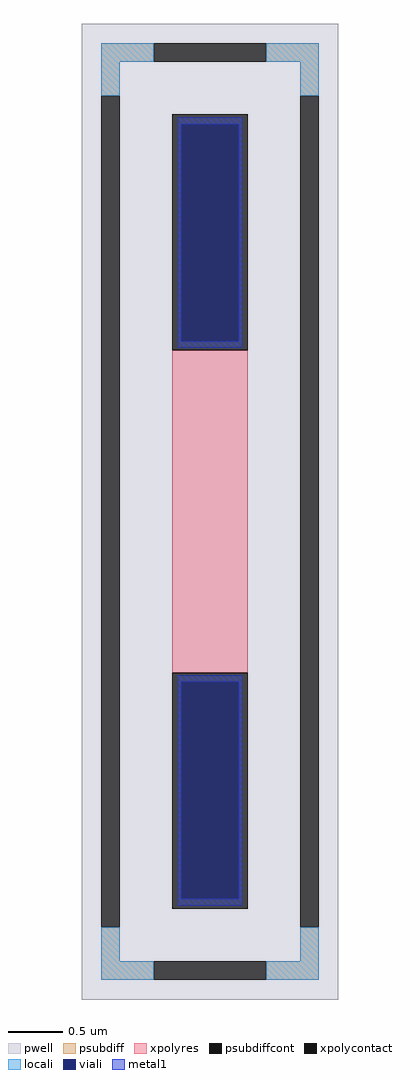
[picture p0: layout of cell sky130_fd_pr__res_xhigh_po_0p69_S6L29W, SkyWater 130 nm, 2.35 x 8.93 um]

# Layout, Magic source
magic
tech sky130A
magscale 1 2
<< pwell >>
rect -235 -893 235 893
<< psubdiff >>
rect -199 823 -103 857
rect 103 823 199 857
rect -199 761 -165 823
rect 165 761 199 823
rect -199 -823 -165 -761
rect 165 -823 199 -761
rect -199 -857 -103 -823
rect 103 -857 199 -823
<< psubdiffcont >>
rect -103 823 103 857
rect -199 -761 -165 761
rect 165 -761 199 761
rect -103 -857 103 -823
<< xpolycontact >>
rect -69 295 69 727
rect -69 -727 69 -295
<< xpolyres >>
rect -69 -295 69 295
<< locali >>
rect -199 823 -103 857
rect 103 823 199 857
rect -199 761 -165 823
rect 165 761 199 823
rect -199 -823 -165 -761
rect 165 -823 199 -761
rect -199 -857 -103 -823
rect 103 -857 199 -823
<< viali >>
rect -53 312 53 709
rect -53 -709 53 -312
<< metal1 >>
rect -59 709 59 721
rect -59 312 -53 709
rect 53 312 59 709
rect -59 300 59 312
rect -59 -312 59 -300
rect -59 -709 -53 -312
rect 53 -709 59 -312
rect -59 -721 59 -709
<< properties >>
string FIXED_BBOX -182 -840 182 840
string gencell sky130_fd_pr__res_xhigh_po_0p69
string library sky130
string parameters w 0.69 l 3.105 m 1 nx 1 wmin 0.690 lmin 0.50 rho 2000 val 9.545k dummy 0 dw 0.0 term 188.2 sterm 0.0 caplen 0 wmax 0.690 guard 1 glc 1 grc 1 gtc 1 gbc 1 compatible {sky130_fd_pr__res_xhigh_po_0p35  sky130_fd_pr__res_xhigh_po_0p69 sky130_fd_pr__res_xhigh_po_1p41  sky130_fd_pr__res_xhigh_po_2p85 sky130_fd_pr__res_xhigh_po_5p73} snake 0 full_metal 1 n_guard 0 hv_guard 0 vias 1 viagb 0 viagt 0 viagl 0 viagr 0
string sky130_fd_pr__res_xhigh_po_0p69_S6L29W parameters
<< end >>
